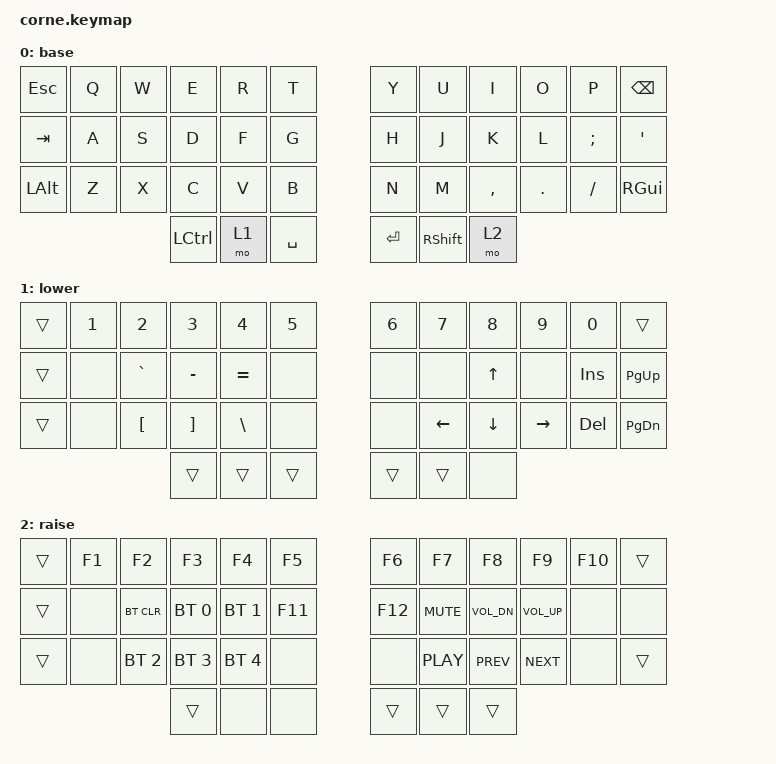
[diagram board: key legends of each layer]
/*
 * Copyright (c) 2020 The ZMK Contributors
 *
 * SPDX-License-Identifier: MIT
 */

#include <behaviors.dtsi>
#include <dt-bindings/zmk/bt.h>
#include <dt-bindings/zmk/keys.h>

/ {
    keymap {
        compatible = "zmk,keymap";

        base {
            // -----------------------------------------------------------------------------------------
            // |  TAB |  Q  |  W  |  E  |  R  |  T  |   |  Y  |  U   |  I  |  O  |  P  | BSPC |
            // | CTRL |  A  |  S  |  D  |  F  |  G  |   |  H  |  J   |  K  |  L  |  ;  |  '   |
            // | SHFT |  Z  |  X  |  C  |  V  |  B  |   |  N  |  M   |  ,  |  .  |  /  | ESC  |
            //                    | GUI | LWR | SPC |   | ENT | RSE  | ALT |

            bindings = <
&kp ESC   &kp Q  &kp W  &kp E      &kp R  &kp T        &kp Y    &kp U      &kp I      &kp O    &kp P     &kp BSPC
&kp TAB   &kp A  &kp S  &kp D      &kp F  &kp G        &kp H    &kp J      &kp K      &kp L    &kp SEMI  &kp SQT
&kp LALT  &kp Z  &kp X  &kp C      &kp V  &kp B        &kp N    &kp M      &kp COMMA  &kp DOT  &kp FSLH  &kp RGUI
                        &kp LCTRL  &mo 1  &kp SPACE    &kp RET  &kp RSHFT  &mo 2
            >;
        };

        lower {
            // -----------------------------------------------------------------------------------------
            // |  TAB |  1  |  2  |  3  |  4  |  5  |   |  6  |  7  |  8  |  9  |  0  | BSPC |
            // | BTCLR| BT1 | BT2 | BT3 | BT4 | BT5 |   | LFT | DWN |  UP | RGT |     |      |
            // | SHFT |     |     |     |     |     |   |     |     |     |     |     |      |
            //                    | GUI |     | SPC |   | ENT |     | ALT |

            bindings = <
&trans  &kp N1  &kp N2     &kp N3     &kp N4     &kp N5    &kp N6  &kp N7    &kp N8    &kp N9     &kp N0   &trans
&trans  &none   &kp GRAVE  &kp MINUS  &kp EQUAL  &none     &none   &none     &kp UP    &none      &kp INS  &kp PG_UP
&trans  &none   &kp LBKT   &kp RBKT   &kp BSLH   &none     &none   &kp LEFT  &kp DOWN  &kp RIGHT  &kp DEL  &kp PG_DN
                           &trans     &trans     &trans    &trans  &trans    &none
            >;
        };

        raise {
            // -----------------------------------------------------------------------------------------
            // |  TAB |  !  |  @  |  #  |  $  |  %  |   |  ^  |  &  |  *  |  (  |  )  | BSPC |
            // | CTRL |     |     |     |     |     |   |  -  |  =  |  [  |  ]  |  \  |  `   |
            // | SHFT |     |     |     |     |     |   |  _  |  +  |  {  |  }  | "|" |  ~   |
            //                    | GUI |     | SPC |   | ENT |     | ALT |

            bindings = <
&trans  &kp F1  &kp F2        &kp F3        &kp F4        &kp F5     &kp F6   &kp F7      &kp F8        &kp F9        &kp F10  &trans
&trans  &none   &bt BT_CLR    &bt BT_SEL 0  &bt BT_SEL 1  &kp F11    &kp F12  &kp C_MUTE  &kp C_VOL_DN  &kp C_VOL_UP  &none    &none
&trans  &none   &bt BT_SEL 2  &bt BT_SEL 3  &bt BT_SEL 4  &none      &none    &kp C_PLAY  &kp C_PREV    &kp C_NEXT    &none    &trans
                              &trans        &none         &none      &trans   &trans      &trans
            >;
        };
    };
};
